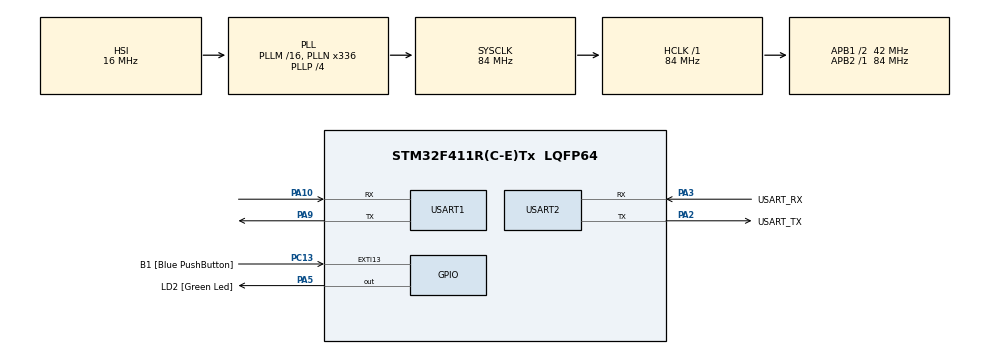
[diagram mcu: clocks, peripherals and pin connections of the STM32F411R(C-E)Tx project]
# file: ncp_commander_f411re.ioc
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Mcu.Family=STM32F4
Mcu.Name=STM32F411R(C-E)Tx
Mcu.Package=LQFP64
NVIC.PriorityGroup=NVIC_PRIORITYGROUP_0
NVIC.USART1_IRQn=true\:0\:0\:false\:false\:true\:true\:true\:true
NVIC.USART2_IRQn=true\:0\:0\:false\:false\:true\:true\:true\:true
PA10.Mode=Asynchronous
PA10.Signal=USART1_RX
PA13.GPIO_Label=TMS
PA13.Mode=Serial_Wire
PA13.Signal=SYS_JTMS-SWDIO
PA14.GPIO_Label=TCK
PA14.Mode=Serial_Wire
PA14.Signal=SYS_JTCK-SWCLK
PA2.GPIO_Label=USART_TX
PA2.Mode=Asynchronous
PA2.Signal=USART2_TX
PA3.GPIO_Label=USART_RX
PA3.Mode=Asynchronous
PA3.Signal=USART2_RX
PA5.GPIO_Label=LD2 [Green Led]
PA5.Signal=GPIO_Output
PA9.Mode=Asynchronous
PA9.Signal=USART1_TX
PB3.GPIO_Label=SWO
PB3.Signal=SYS_JTDO-SWO
PC13-ANTI_TAMP.GPIO_Label=B1 [Blue PushButton]
PC13-ANTI_TAMP.GPIO_ModeDefaultEXTI=GPIO_MODE_IT_FALLING
PC13-ANTI_TAMP.Signal=GPXTI13
PC14-OSC32_IN.Mode=LSE-External-Oscillator
PC14-OSC32_IN.Signal=RCC_OSC32_IN
PC15-OSC32_OUT.Mode=LSE-External-Oscillator
PC15-OSC32_OUT.Signal=RCC_OSC32_OUT
PH0\ -\ OSC_IN.Mode=HSE-External-Clock-Source
PH0\ -\ OSC_IN.Signal=RCC_OSC_IN
PH1\ -\ OSC_OUT.Mode=HSE-External-Clock-Source
PH1\ -\ OSC_OUT.Signal=RCC_OSC_OUT
ProjectManager.HeapSize=0x200
ProjectManager.StackSize=0x400
ProjectManager.TargetToolchain=STM32CubeIDE
RCC.48MHZClocksFreq_Value=84000000
RCC.AHBFreq_Value=84000000
RCC.APB1CLKDivider=RCC_HCLK_DIV2
RCC.APB1Freq_Value=42000000
RCC.APB1TimFreq_Value=84000000
RCC.APB2Freq_Value=84000000
RCC.APB2TimFreq_Value=84000000
RCC.CortexFreq_Value=84000000
RCC.FLatency-AdvancedSettings=FLASH_LATENCY_2
RCC.HCLKFreq_Value=84000000
RCC.HSE_VALUE=8000000
RCC.HSI_VALUE=16000000
RCC.PLLN=336
RCC.PLLP=RCC_PLLP_DIV4
RCC.SYSCLKFreq_VALUE=84000000
RCC.SYSCLKSource=RCC_SYSCLKSOURCE_PLLCLK
RCC.VCOOutputFreq_Value=336000000
USART1.VirtualMode=VM_ASYNC
USART2.VirtualMode=VM_ASYNC
board=NUCLEO-F411RE

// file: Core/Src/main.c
/* USER CODE BEGIN Header */
/**
 ******************************************************************************
 * @file           : main.c
 * @brief          : Main program body
 ******************************************************************************
 * @attention
 *
 * Copyright (c) 2025 STMicroelectronics.
 * All rights reserved.
 *
 * This software is licensed under terms that can be found in the LICENSE file
 * in the root directory of this software component.
 * If no LICENSE file comes with this software, it is provided AS-IS.
 *
 ******************************************************************************
 */
/* USER CODE END Header */
#include "main.h"

/* USER CODE BEGIN Includes */
#include <stdio.h>
#include <string.h>
#include "sl_ring_buffer.h"
/* USER CODE END Includes */

UART_HandleTypeDef huart1;
UART_HandleTypeDef huart2;

void SystemClock_Config(void);
static void MX_GPIO_Init(void);
static void MX_USART2_UART_Init(void);
static void MX_USART1_UART_Init(void);
/* USER CODE BEGIN PFP */

static sl_ring_buffer uart1_rx_buf = { 0 };
static sl_ring_buffer uart2_rx_buf = { 0 };
static uint8_t rx1_byte;
static uint8_t rx2_byte;

/* USER CODE END PFP */

int main(void)
{

  /* MCU Configuration--------------------------------------------------------*/

  /* Reset of all peripherals, Initializes the Flash interface and the Systick. */
  HAL_Init();

  /* Configure the system clock */
  SystemClock_Config();

  /* Initialize all configured peripherals */
  MX_GPIO_Init();
  MX_USART2_UART_Init();
  MX_USART1_UART_Init();
  /* USER CODE BEGIN 2 */
  HAL_UART_Receive_IT(&huart1, &rx1_byte, 1);
  HAL_UART_Receive_IT(&huart2, &rx2_byte, 1);
  /* USER CODE END 2 */

  /* Infinite loop */
  while (1) {

    /* USER CODE BEGIN 3 */
    uint8_t byte;
    while (sl_ringbuffer_read(&uart1_rx_buf, &byte)) {
      HAL_UART_Transmit(&huart2, &byte, 1, 10);
    }

    while (sl_ringbuffer_read(&uart2_rx_buf, &byte)) {
      HAL_UART_Transmit(&huart1, &byte, 1, 10);
    }
  }
  /* USER CODE END 3 */
}

void SystemClock_Config(void)
{
  RCC_OscInitTypeDef RCC_OscInitStruct = { 0 };
  RCC_ClkInitTypeDef RCC_ClkInitStruct = { 0 };

  /** Configure the main internal regulator output voltage
   */
  __HAL_RCC_PWR_CLK_ENABLE();
  __HAL_PWR_VOLTAGESCALING_CONFIG(PWR_REGULATOR_VOLTAGE_SCALE1);

  /** Initializes the RCC Oscillators according to the specified parameters
   * in the RCC_OscInitTypeDef structure.
   */
  RCC_OscInitStruct.OscillatorType = RCC_OSCILLATORTYPE_HSI;
  RCC_OscInitStruct.HSIState = RCC_HSI_ON;
  RCC_OscInitStruct.HSICalibrationValue = RCC_HSICALIBRATION_DEFAULT;
  RCC_OscInitStruct.PLL.PLLState = RCC_PLL_ON;
  RCC_OscInitStruct.PLL.PLLSource = RCC_PLLSOURCE_HSI;
  RCC_OscInitStruct.PLL.PLLM = 16;
  RCC_OscInitStruct.PLL.PLLN = 336;
  RCC_OscInitStruct.PLL.PLLP = RCC_PLLP_DIV4;
  RCC_OscInitStruct.PLL.PLLQ = 4;
  if (HAL_RCC_OscConfig(&RCC_OscInitStruct) != HAL_OK) {
    Error_Handler();
  }

  /** Initializes the CPU, AHB and APB buses clocks
   */
  RCC_ClkInitStruct.ClockType = RCC_CLOCKTYPE_HCLK | RCC_CLOCKTYPE_SYSCLK
                                | RCC_CLOCKTYPE_PCLK1 | RCC_CLOCKTYPE_PCLK2;
  RCC_ClkInitStruct.SYSCLKSource = RCC_SYSCLKSOURCE_PLLCLK;
  RCC_ClkInitStruct.AHBCLKDivider = RCC_SYSCLK_DIV1;
  RCC_ClkInitStruct.APB1CLKDivider = RCC_HCLK_DIV2;
  RCC_ClkInitStruct.APB2CLKDivider = RCC_HCLK_DIV1;

  if (HAL_RCC_ClockConfig(&RCC_ClkInitStruct, FLASH_LATENCY_2) != HAL_OK) {
    Error_Handler();
  }
}

static void MX_USART1_UART_Init(void)
{

  huart1.Instance = USART1;
  huart1.Init.BaudRate = 115200;
  huart1.Init.WordLength = UART_WORDLENGTH_8B;
  huart1.Init.StopBits = UART_STOPBITS_1;
  huart1.Init.Parity = UART_PARITY_NONE;
  huart1.Init.Mode = UART_MODE_TX_RX;
  huart1.Init.HwFlowCtl = UART_HWCONTROL_NONE;
  huart1.Init.OverSampling = UART_OVERSAMPLING_16;
  if (HAL_UART_Init(&huart1) != HAL_OK) {
    Error_Handler();
  }
}

static void MX_USART2_UART_Init(void)
{

  huart2.Instance = USART2;
  huart2.Init.BaudRate = 115200;
  huart2.Init.WordLength = UART_WORDLENGTH_8B;
  huart2.Init.StopBits = UART_STOPBITS_1;
  huart2.Init.Parity = UART_PARITY_NONE;
  huart2.Init.Mode = UART_MODE_TX_RX;
  huart2.Init.HwFlowCtl = UART_HWCONTROL_NONE;
  huart2.Init.OverSampling = UART_OVERSAMPLING_16;
  if (HAL_UART_Init(&huart2) != HAL_OK) {
    Error_Handler();
  }
}

static void MX_GPIO_Init(void)
{
  GPIO_InitTypeDef GPIO_InitStruct = { 0 };

  /* GPIO Ports Clock Enable */
  __HAL_RCC_GPIOC_CLK_ENABLE();
  __HAL_RCC_GPIOH_CLK_ENABLE();
  __HAL_RCC_GPIOA_CLK_ENABLE();
  __HAL_RCC_GPIOB_CLK_ENABLE();

  /*Configure GPIO pin Output Level */
  HAL_GPIO_WritePin(LD2_GPIO_Port, LD2_Pin, GPIO_PIN_RESET);

  /*Configure GPIO pin : B1_Pin */
  GPIO_InitStruct.Pin = B1_Pin;
  GPIO_InitStruct.Mode = GPIO_MODE_IT_FALLING;
  GPIO_InitStruct.Pull = GPIO_NOPULL;
  HAL_GPIO_Init(B1_GPIO_Port, &GPIO_InitStruct);

  /*Configure GPIO pin : LD2_Pin */
  GPIO_InitStruct.Pin = LD2_Pin;
  GPIO_InitStruct.Mode = GPIO_MODE_OUTPUT_PP;
  GPIO_InitStruct.Pull = GPIO_NOPULL;
  GPIO_InitStruct.Speed = GPIO_SPEED_FREQ_LOW;
  HAL_GPIO_Init(LD2_GPIO_Port, &GPIO_InitStruct);

}

/* USER CODE BEGIN 4 */

// printf
int _write(int file, char *data, int len)
{
  HAL_UART_Transmit(&huart2, (uint8_t*)data, len, HAL_MAX_DELAY);
  return len;
}

// UART ISR
void HAL_UART_RxCpltCallback(UART_HandleTypeDef *huart)
{
  if (huart->Instance == USART1) {
    sl_ringbuffer_write(&uart1_rx_buf, rx1_byte);
    HAL_UART_Receive_IT(&huart1, &rx1_byte, 1);
  } else if (huart->Instance == USART2) {
    sl_ringbuffer_write(&uart2_rx_buf, rx2_byte);
    HAL_UART_Receive_IT(&huart2, &rx2_byte, 1);
  }
}

/* USER CODE END 4 */

void Error_Handler(void)
{
  __disable_irq();
  while (1) {
  }
}
